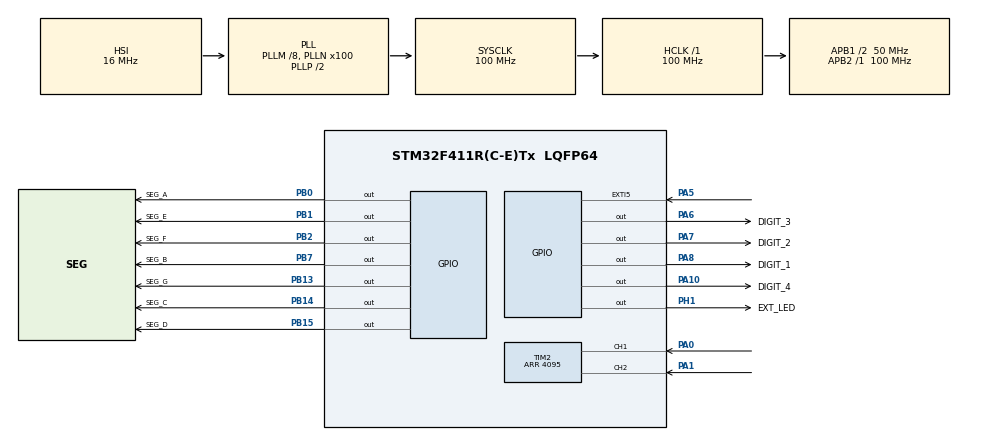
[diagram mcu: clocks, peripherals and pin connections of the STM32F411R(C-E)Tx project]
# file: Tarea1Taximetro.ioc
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Mcu.Family=STM32F4
Mcu.Name=STM32F411R(C-E)Tx
Mcu.Package=LQFP64
NVIC.EXTI9_5_IRQn=true\:0\:0\:false\:false\:true\:true\:true\:true
NVIC.PriorityGroup=NVIC_PRIORITYGROUP_0
NVIC.TIM3_IRQn=true\:0\:0\:false\:false\:true\:true\:true\:true
PA0-WKUP.Signal=S_TIM2_CH1_ETR
PA1.Signal=S_TIM2_CH2
PA10.GPIO_Label=DIGIT_4
PA10.Signal=GPIO_Output
PA5.Signal=GPXTI5
PA6.GPIO_Label=DIGIT_3
PA6.Signal=GPIO_Output
PA7.GPIO_Label=DIGIT_2
PA7.Signal=GPIO_Output
PA8.GPIO_Label=DIGIT_1
PA8.Signal=GPIO_Output
PB0.GPIO_Label=SEG_A
PB0.Signal=GPIO_Output
PB1.GPIO_Label=SEG_E
PB1.Signal=GPIO_Output
PB13.GPIO_Label=SEG_G
PB13.Signal=GPIO_Output
PB14.GPIO_Label=SEG_C
PB14.Signal=GPIO_Output
PB15.GPIO_Label=SEG_D
PB15.Signal=GPIO_Output
PB2.GPIO_Label=SEG_F
PB2.Signal=GPIO_Output
PB7.GPIO_Label=SEG_B
PB7.Signal=GPIO_Output
PH1\ -\ OSC_OUT.GPIO_Label=EXT_LED
PH1\ -\ OSC_OUT.Signal=GPIO_Output
ProjectManager.HeapSize=0x200
ProjectManager.StackSize=0x400
ProjectManager.TargetToolchain=STM32CubeIDE
RCC.48MHZClocksFreq_Value=50000000
RCC.AHBFreq_Value=100000000
RCC.APB1CLKDivider=RCC_HCLK_DIV2
RCC.APB1Freq_Value=50000000
RCC.APB1TimFreq_Value=100000000
RCC.APB2Freq_Value=100000000
RCC.APB2TimFreq_Value=100000000
RCC.CortexFreq_Value=100000000
RCC.FLatency-AdvancedSettings=FLASH_LATENCY_3
RCC.HCLKFreq_Value=100000000
RCC.HSE_VALUE=8000000
RCC.HSI_VALUE=16000000
RCC.LSE_VALUE=32768
RCC.PLLM=8
RCC.PLLN=100
RCC.SYSCLKFreq_VALUE=100000000
RCC.SYSCLKSource=RCC_SYSCLKSOURCE_PLLCLK
RCC.VCOOutputFreq_Value=200000000
SH.S_TIM2_CH1_ETR.0=TIM2_CH1,Encoder_Interface
SH.S_TIM2_CH2.0=TIM2_CH2,Encoder_Interface
TIM2.EncoderMode=TIM_ENCODERMODE_TI12
TIM2.Period=4095
TIM3.Period=9
TIM3.Prescaler=9999
VP_TIM3_VS_ClockSourceINT.Mode=Internal
board=NUCLEO-F411RE

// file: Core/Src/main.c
/* USER CODE BEGIN Header */
/**
 ******************************************************************************
 * @file           : main.c
 * @brief          : Código principal del programa.
 * @author         : Daverson Vera Patiño
 * @date           : 22-10-2025
 ******************************************************************************
 * @attention
 *
 * Taller V (2.0) - Tarea #1
 * PROFESOR: Nerio Andres Montoya Giraldo, PhD.
 *
 * ## Descripción de las herramientas del hardware utilizadas

*
* El sistema se implementa sobre una placa de desarrollo ST Nucleo-F411RE y
* utiliza los siguientes componentes externos:
*
* 1. **Encoder Rotatorio (Incremental):**
* - **Función:** Permite al usuario interactuar con el sistema, incrementando
* o decrementando un valor numérico. Detecta tanto el giro (pasos) como
* la dirección (sentido horario CW y antihorario CCW).
* - **Conexión:** Las salidas A (DT) y B (CLK) del encoder se conectan a los
* pines PA0 y PA1 del microcontrolador, configurados para la interfaz
* de encoder del Timer 2 (TIM2).
*
* 2. **Display de 7 Segmentos de 4 Dígitos (anodo Común):**
* - **Función:** Visualiza un número de hasta 4 cifras (0-4095) que
* corresponde al valor controlado por el encoder.
* - **Conexión:** Los 7 pines de los segmentos (A-G) se conectan al puerto
* GPIOB. Los 4 pines de control de los dígitos (transistores) se
* conectan al puerto GPIOA. Se utiliza una configuración de ánodo común
* donde para encender un dígito se aplica un nivel BAJO a su pin de control.
*
* 3. **Pulsador (Botón externo -No se uso el sw):**
* - **Función:** Permite al usuario cambiar la frecuencia de refresco (FPS)
* del display de 7 segmentos, ciclando entre varios niveles predefinidos.
* - **Conexión:** El pulsador está conectado al pin PA5, configurado como
* una entrada con interrupción externa (EXTI).
*
* 4. **Inversor con Disparador Schmitt (SN74HC14N):**
* - **Función:** Es un componente clave para el acondicionamiento de las
* señales. Se utiliza para el sistema de anti-rebote (debounce) por
* hardware tanto para las señales del encoder como para el pulsador.
* Convierte las señales ruidosas, provenientes de los contactos mecánicos,
* en señales digitales limpias y definidas (ondas cuadradas), asegurando
* que el microcontrolador reciba entradas estables y precisas.
*
* 5. **LED de Estado (Blinky)-Se uso el de la plca táctica:**
* - **Función:** Indica que el microcontrolador está energizado y ejecutando
* el programa correctamente. Su parpadeo a una frecuencia constante sirve
* como una señal visual de "heartbeat" del sistema.
*
* ## Explicación de cómo funciona el sistema
*
* El firmware está desarrollado utilizando el lenguaje C y las bibliotecas HAL
* de STM32.
*
* 1. **Control del Encoder con Timer 2 (TIM2):**
* - El TIM2 está configurado en Modo Encoder. Esto permite que el timer incremente
* o decremente su registro contador (`CNT`) automáticamente en respuesta a los pulsos de cuadratura
* del encoder.
* - La dirección del giro es detectada por el hardware del timer basándose
* en cuál de las señales (A o B) lidera a la otra.
* - El `Period` del timer (ARR) se establece en **4095**, lo que define el
* rango del contador como un valor de 12 bits sin signo. El hardware
* gestiona automáticamente el desbordamiento (overflow/underflow),
* pasando de 4095 a 0 al incrementar, y de 0 a 4095 al decrementar.
* - El bucle principal (`while(1)`) simplemente lee el valor actual del
* contador del TIM2 (`__HAL_TIM_GET_COUNTER`) y lo almacena en la variable
* `counter_value`, liberando a la CPU de la tarea de decodificar las
* señales del encoder.
*
* 2. **Refresco del Display con Timer 3 (TIM3) y Multiplexación (POV):**
* - Para evitar el efecto fantasma y controlar los 4 dígitos
* con un número limitado de pines, se utiliza la técnica de **multiplexación**.
* - El TIM3 se configura como un timer básico que genera una interrupción
* periódica a una frecuencia elevada.
* el código realiza lo siguiente en cada llamada:
* a. Apaga todos los dígitos y segmentos (`clear_display`.
* b. Selecciona un dígito para activar (de 0 a 3, secuencialmente).
* c. Extrae el número correspondiente de la variable `counter_value`
* (unidades, decenas, centenas, millares).
* d. Activa los segmentos necesarios para formar ese número (`set_segments`).
* e. Activa el transistor del dígito seleccionado (`set_active_digit`),
* iluminándolo.
* - Este proceso se repite tan rápido que el ojo humano percibe los cuatro
* dígitos como si estuvieran encendidos simultáneamente.
*
* 3. **Control de FPS con Interrupción Externa (EXTI):**
* - El pin PA5 (conectado al pulsador) está configurado para generar una
* interrupción (`EXTI`) cuando detecta un flanco de subida.
* - La interrupción es manejada por `HAL_GPIO_EXTI_Callback`. Dentro de esta
* función, se implementa un **mecanismo anti-rebote por software**
* basado en el tiempo (`HAL_GetTick()`) para ignorar los rebotes mecánicos
* que no fueron completamente filtrados por el hardware.
* - Al detectar una pulsación válida, el código actualiza un índice para
* seleccionar un nuevo valor de FPS de un arreglo predefinido y llama a
* `update_timer_for_fps()`.
* - La función `update_timer_for_fps()` recalcula y actualiza el valor del
* registro de auto-recarga (ARR) del TIM3. Al cambiar este valor, se
* modifica la frecuencia de la interrupción, y por ende, la velocidad de
* refresco del display.
 *
 ******************************************************************************
 */
/* USER CODE END Header */
#include "main.h"

/* USER CODE BEGIN PD */
/* Private defines -----------------------------------------------------------*/
#define EXT_LED_Pin GPIO_PIN_1
#define EXT_LED_GPIO_Port GPIOH
#define DIGIT_3_Pin GPIO_PIN_6
#define DIGIT_3_GPIO_Port GPIOA
#define DIGIT_2_Pin GPIO_PIN_7
#define DIGIT_2_GPIO_Port GPIOA
#define SEG_A_Pin GPIO_PIN_0
#define SEG_A_GPIO_Port GPIOB
#define SEG_E_Pin GPIO_PIN_1
#define SEG_E_GPIO_Port GPIOB
#define SEG_F_Pin GPIO_PIN_2
#define SEG_F_GPIO_Port GPIOB
#define SEG_G_Pin GPIO_PIN_13
#define SEG_G_GPIO_Port GPIOB
#define SEG_C_Pin GPIO_PIN_14
#define SEG_C_GPIO_Port GPIOB
#define SEG_D_Pin GPIO_PIN_15
#define SEG_D_GPIO_Port GPIOB
#define DIGIT_1_Pin GPIO_PIN_8
#define DIGIT_1_GPIO_Port GPIOA
#define DIGIT_4_Pin GPIO_PIN_10
#define DIGIT_4_GPIO_Port GPIOA
#define SEG_B_Pin GPIO_PIN_7
#define SEG_B_GPIO_Port GPIOB

/* USER CODE END PD */

TIM_HandleTypeDef htim2;
TIM_HandleTypeDef htim3;

/* USER CODE BEGIN PV */

// Patrones de bits para los números del 0 al 9 en un display de 7 segmentos (ÁNODO COMÚN).
// Ánodo común: '0' enciende el segmento, '1' lo apaga.
// El orden de los bits es G-F-E-D-C-B-A.
const uint8_t seven_seg_patterns[10] = {
    0b00111111, // 0 (Segmento G apagado, resto encendido) -> Corrección: 0b11000000 -> 0xC0
    0b00000110, // 1 (Segmentos B, C encendidos) -> Corrección: 0b11111001 -> 0xF9
    0b01011011, // 2 -> Corrección: 0b10100100 -> 0xA4
    0b01001111, // 3 -> Corrección: 0b10110000 -> 0xB0
    0b01100110, // 4 -> Corrección: 0b10011001 -> 0x99
    0b01101101, // 5 -> Corrección: 0b10010010 -> 0x92
    0b01111101, // 6 -> Corrección: 0b10000010 -> 0x82
    0b00000111, // 7 -> Corrección: 0b11111000 -> 0xF8
    0b01111111, // 8 -> Corrección: 0b10000000 -> 0x80
    0b01101111  // 9 -> Corrección: 0b10010000 -> 0x90
};

// Variable volátil para almacenar el valor actual del encoder.
volatile uint16_t counter_value = 0; // Inicializado en 0.

// Variable para controlar qué dígito del display se está actualizando (0 a 3).
volatile uint8_t active_digit = 0;

// Niveles de FPS (Frames Per Second) para el refresco del display.
const uint8_t fps_levels[] = {5, 10, 20, 30, 60};
uint8_t fps_index = 4; // Inicia en el nivel más alto (60 FPS).
const uint8_t num_fps_levels = sizeof(fps_levels) / sizeof(fps_levels[0]);

// Variables para el debouncing (antirrebote) del botón.
uint32_t last_button_press_time = 0;
const uint32_t debounce_delay = 200; // 200 milisegundos.

// Variable para el parpadeo del LED de estado.
uint32_t last_led_toggle_time = 0;
/* USER CODE END PV */

void SystemClock_Config(void);
static void MX_GPIO_Init(void);
static void MX_TIM2_Init(void);
static void MX_TIM3_Init(void);
/* USER CODE BEGIN PFP */
void clear_display(void);
void set_segments(uint8_t number);
void set_active_digit(uint8_t digit_num);
void update_timer_for_fps(void);
/* USER CODE END PFP */

int main(void)
{

  /* MCU Configuration--------------------------------------------------------*/

  /* Reset of all peripherals, Initializes the Flash interface and the Systick. */
  HAL_Init();

  /* Configure the system clock */
  SystemClock_Config();

  /* Initialize all configured peripherals */
  MX_GPIO_Init();
  MX_TIM2_Init();
  MX_TIM3_Init();
  /* USER CODE BEGIN 2 */

  //LED de estado
  HAL_GPIO_WritePin(EXT_LED_GPIO_Port, EXT_LED_Pin, GPIO_PIN_RESET);
  last_led_toggle_time = HAL_GetTick(); // Inicializa el temporizador del LED

  // Inicia el Timer 2 en modo Encoder.
  HAL_TIM_Encoder_Start(&htim2, TIM_CHANNEL_ALL);

  // Establece el valor inicial del contador del encoder en 0.
  __HAL_TIM_SET_COUNTER(&htim2, 0);

  // Inicia el Timer 3 para generar interrupciones para el refresco del display.
  HAL_TIM_Base_Start_IT(&htim3);

  // Configura la frecuencia de refresco inicial del display.
  update_timer_for_fps();
  /* USER CODE END 2 */

  /* Infinite loop */
  while (1)
  {

    /* USER CODE BEGIN 3 */

    // 1. Lectura del Encoder
    // Lee el valor del contador del encoder en cada ciclo.
    counter_value = __HAL_TIM_GET_COUNTER(&htim2);

    // 2. Parpadeo del LED
    // Comprueba si han pasado 500ms desde el último parpadeo.
    if (HAL_GetTick() - last_led_toggle_time > 500)
    {
      HAL_GPIO_TogglePin(EXT_LED_GPIO_Port, EXT_LED_Pin);
      last_led_toggle_time = HAL_GetTick(); // Actualiza el tiempo del último parpadeo
    }
  }
  /* USER CODE END 3 */
}

void SystemClock_Config(void)
{
  RCC_OscInitTypeDef RCC_OscInitStruct = {0};
  RCC_ClkInitTypeDef RCC_ClkInitStruct = {0};

  /** Configure the main internal regulator output voltage
  */
  __HAL_RCC_PWR_CLK_ENABLE();
  __HAL_PWR_VOLTAGESCALING_CONFIG(PWR_REGULATOR_VOLTAGE_SCALE1);

  /** Initializes the RCC Oscillators according to the specified parameters
  * in the RCC_OscInitTypeDef structure.
  */
  RCC_OscInitStruct.OscillatorType = RCC_OSCILLATORTYPE_HSI;
  RCC_OscInitStruct.HSIState = RCC_HSI_ON;
  RCC_OscInitStruct.HSICalibrationValue = RCC_HSICALIBRATION_DEFAULT;
  RCC_OscInitStruct.PLL.PLLState = RCC_PLL_ON;
  RCC_OscInitStruct.PLL.PLLSource = RCC_PLLSOURCE_HSI;
  RCC_OscInitStruct.PLL.PLLM = 8;
  RCC_OscInitStruct.PLL.PLLN = 100;
  RCC_OscInitStruct.PLL.PLLP = RCC_PLLP_DIV2;
  RCC_OscInitStruct.PLL.PLLQ = 4;
  if (HAL_RCC_OscConfig(&RCC_OscInitStruct) != HAL_OK)
  {
    Error_Handler();
  }

  /** Initializes the CPU, AHB and APB buses clocks
  */
  RCC_ClkInitStruct.ClockType = RCC_CLOCKTYPE_HCLK|RCC_CLOCKTYPE_SYSCLK
                              |RCC_CLOCKTYPE_PCLK1|RCC_CLOCKTYPE_PCLK2;
  RCC_ClkInitStruct.SYSCLKSource = RCC_SYSCLKSOURCE_PLLCLK;
  RCC_ClkInitStruct.AHBCLKDivider = RCC_SYSCLK_DIV1;
  RCC_ClkInitStruct.APB1CLKDivider = RCC_HCLK_DIV2;
  RCC_ClkInitStruct.APB2CLKDivider = RCC_HCLK_DIV1;

  if (HAL_RCC_ClockConfig(&RCC_ClkInitStruct, FLASH_LATENCY_3) != HAL_OK)
  {
    Error_Handler();
  }
}

static void MX_TIM2_Init(void)
{

  TIM_Encoder_InitTypeDef sConfig = {0};
  TIM_MasterConfigTypeDef sMasterConfig = {0};

  htim2.Instance = TIM2;
  htim2.Init.Prescaler = 0;
  htim2.Init.CounterMode = TIM_COUNTERMODE_UP;
  htim2.Init.Period = 4095;
  htim2.Init.ClockDivision = TIM_CLOCKDIVISION_DIV1;
  htim2.Init.AutoReloadPreload = TIM_AUTORELOAD_PRELOAD_DISABLE;

  // Cambiado de TIM_ENCODERMODE_TI12 a TIM_ENCODERMODE_TI1.
  // Esto cuenta en los flancos de TI1 (Canal A) y usa TI2 (Canal B)
  // para determinar la dirección.
  sConfig.EncoderMode = TIM_ENCODERMODE_TI1;

  sConfig.IC1Polarity = TIM_ICPOLARITY_RISING; // Cuenta en flancos de subida
  sConfig.IC1Selection = TIM_ICSELECTION_DIRECTTI;
  sConfig.IC1Prescaler = TIM_ICPSC_DIV1;
  sConfig.IC1Filter = 0; // Filtro a 0 (confiamos en el Schmitt-trigger externo)
  sConfig.IC2Polarity = TIM_ICPOLARITY_RISING;
  sConfig.IC2Selection = TIM_ICSELECTION_DIRECTTI;
  sConfig.IC2Prescaler = TIM_ICPSC_DIV1;
  sConfig.IC2Filter = 0;
  if (HAL_TIM_Encoder_Init(&htim2, &sConfig) != HAL_OK)
  {
    Error_Handler();
  }
  sMasterConfig.MasterOutputTrigger = TIM_TRGO_RESET;
  sMasterConfig.MasterSlaveMode = TIM_MASTERSLAVEMODE_DISABLE;
  if (HAL_TIMEx_MasterConfigSynchronization(&htim2, &sMasterConfig) != HAL_OK)
  {
    Error_Handler();
  }

}

static void MX_TIM3_Init(void)
{

  TIM_ClockConfigTypeDef sClockSourceConfig = {0};
  TIM_MasterConfigTypeDef sMasterConfig = {0};

  htim3.Instance = TIM3;
  htim3.Init.Prescaler = 9999;
  htim3.Init.CounterMode = TIM_COUNTERMODE_UP;
  htim3.Init.Period = 9;
  htim3.Init.ClockDivision = TIM_CLOCKDIVISION_DIV1;
  htim3.Init.AutoReloadPreload = TIM_AUTORELOAD_PRELOAD_DISABLE;
  if (HAL_TIM_Base_Init(&htim3) != HAL_OK)
  {
    Error_Handler();
  }
  sClockSourceConfig.ClockSource = TIM_CLOCKSOURCE_INTERNAL;
  if (HAL_TIM_ConfigClockSource(&htim3, &sClockSourceConfig) != HAL_OK)
  {
    Error_Handler();
  }
  sMasterConfig.MasterOutputTrigger = TIM_TRGO_RESET;
  sMasterConfig.MasterSlaveMode = TIM_MASTERSLAVEMODE_DISABLE;
  if (HAL_TIMEx_MasterConfigSynchronization(&htim3, &sMasterConfig) != HAL_OK)
  {
    Error_Handler();
  }

}

static void MX_GPIO_Init(void)
{
  GPIO_InitTypeDef GPIO_InitStruct = {0};

  /* GPIO Ports Clock Enable */
  __HAL_RCC_GPIOH_CLK_ENABLE();
  __HAL_RCC_GPIOA_CLK_ENABLE();
  __HAL_RCC_GPIOB_CLK_ENABLE();

  /*Configure GPIO pin Output Level */
  HAL_GPIO_WritePin(EXT_LED_GPIO_Port, EXT_LED_Pin, GPIO_PIN_RESET);

  /*Configure GPIO pin Output Level */
  HAL_GPIO_WritePin(GPIOA, DIGIT_3_Pin|DIGIT_2_Pin|DIGIT_1_Pin|DIGIT_4_Pin, GPIO_PIN_RESET);

  /*Configure GPIO pin Output Level */
  HAL_GPIO_WritePin(GPIOB, SEG_A_Pin|SEG_E_Pin|SEG_F_Pin|SEG_G_Pin
                          |SEG_C_Pin|SEG_D_Pin|SEG_B_Pin, GPIO_PIN_RESET);

  /*Configure GPIO pin : EXT_LED_Pin */
  GPIO_InitStruct.Pin = EXT_LED_Pin;
  GPIO_InitStruct.Mode = GPIO_MODE_OUTPUT_PP;
  GPIO_InitStruct.Pull = GPIO_NOPULL;
  GPIO_InitStruct.Speed = GPIO_SPEED_FREQ_LOW;
  HAL_GPIO_Init(EXT_LED_GPIO_Port, &GPIO_InitStruct);

  /*Configure GPIO pin : PA5 */
  GPIO_InitStruct.Pin = GPIO_PIN_5;
  GPIO_InitStruct.Mode = GPIO_MODE_IT_RISING;
  GPIO_InitStruct.Pull = GPIO_NOPULL;
  HAL_GPIO_Init(GPIOA, &GPIO_InitStruct);

  /*Configure GPIO pins : DIGIT_3_Pin DIGIT_2_Pin DIGIT_1_Pin DIGIT_4_Pin */
  GPIO_InitStruct.Pin = DIGIT_3_Pin|DIGIT_2_Pin|DIGIT_1_Pin|DIGIT_4_Pin;
  GPIO_InitStruct.Mode = GPIO_MODE_OUTPUT_PP;
  GPIO_InitStruct.Pull = GPIO_NOPULL;
  GPIO_InitStruct.Speed = GPIO_SPEED_FREQ_LOW;
  HAL_GPIO_Init(GPIOA, &GPIO_InitStruct);

  /*Configure GPIO pins : SEG_A_Pin SEG_E_Pin SEG_F_Pin SEG_G_Pin
                           SEG_C_Pin SEG_D_Pin SEG_B_Pin */
  GPIO_InitStruct.Pin = SEG_A_Pin|SEG_E_Pin|SEG_F_Pin|SEG_G_Pin
                          |SEG_C_Pin|SEG_D_Pin|SEG_B_Pin;
  GPIO_InitStruct.Mode = GPIO_MODE_OUTPUT_PP;
  GPIO_InitStruct.Pull = GPIO_NOPULL;
  GPIO_InitStruct.Speed = GPIO_SPEED_FREQ_LOW;
  HAL_GPIO_Init(GPIOB, &GPIO_InitStruct);

  /* EXTI interrupt init*/
  HAL_NVIC_SetPriority(EXTI9_5_IRQn, 0, 0);
  HAL_NVIC_EnableIRQ(EXTI9_5_IRQn);

}

/* USER CODE BEGIN 4 */

/**
  * @brief  Callback de interrupción externa (se ejecuta al presionar un botón).
  */
void HAL_GPIO_EXTI_Callback(uint16_t GPIO_Pin)
{
    // Se asegura de que la interrupción fue causada por el pin correcto (PA5).
    if (GPIO_Pin == GPIO_PIN_5) {
        // Lógica de antirrebote (debounce).
        if (HAL_GetTick() - last_button_press_time > debounce_delay) {
            fps_index = (fps_index + 1) % num_fps_levels; // Cicla entre los niveles de FPS.
            update_timer_for_fps(); // Actualiza la configuración del timer.
            last_button_press_time = HAL_GetTick(); // Registra el tiempo de la pulsación.
        }
    }
}

/**
  * @brief  Callback de interrupción del timer (se ejecuta cuando el contador del TIM3 llega al valor de Period).
  */
void HAL_TIM_PeriodElapsedCallback(TIM_HandleTypeDef *htim)
{
    // Asegurarse de que la interrupción es del TIM3.
    if (htim->Instance == TIM3) {
        clear_display(); // Apaga todos los segmentos y dígitos para evitar "ghosting".

        uint16_t temp_counter = counter_value;
        uint8_t digit_to_show;

        // Lógica de multiplexación: calcula qué número mostrar en el dígito activo.
        if (active_digit == 0)      digit_to_show = (temp_counter / 1000) % 10;
        else if (active_digit == 1) digit_to_show = (temp_counter / 100) % 10;
        else if (active_digit == 2) digit_to_show = (temp_counter / 10) % 10;
        else                        digit_to_show = temp_counter % 10;

        set_segments(digit_to_show);    // Enciende los segmentos correspondientes al número.
        set_active_digit(active_digit); // Activa el transistor del dígito actual.

        active_digit = (active_digit + 1) % 4; // Pasa al siguiente dígito para la próxima interrupción.
    }
}

/**
  * @brief  Actualiza el valor de recarga automática (ARR) del TIM3 para cambiar los FPS.
  */
void update_timer_for_fps(void) {
    // La frecuencia de refresco de CADA dígito es FPS * 4 (porque son 4 dígitos).
    uint32_t refresh_freq = fps_levels[fps_index] * 4;
    if (refresh_freq == 0) return; // Evita división por cero.

    // El reloj del TIM3 después del prescaler es 100MHz / (9999+1) = 10,000 Hz.
    // Nuevo Periodo (ARR) = (Frecuencia_Timer / Frecuencia_Deseada) - 1.
    uint32_t new_arr_value = (10000 / refresh_freq) - 1;

    __HAL_TIM_SET_AUTORELOAD(&htim3, new_arr_value);
    htim3.Instance->EGR = TIM_EGR_UG; // Genera un evento de actualización para aplicar los cambios inmediatamente.
}

/**
  * @brief Apaga todos los segmentos y transistores de los dígitos.
  */
void clear_display(void) {
    // Pone en ALTO los pines de los segmentos (ánodo común, se apagan con '1').
    HAL_GPIO_WritePin(GPIOB, SEG_A_Pin|SEG_E_Pin|SEG_F_Pin|SEG_B_Pin|SEG_G_Pin|SEG_C_Pin|SEG_D_Pin, GPIO_PIN_SET);
    // Pone en ALTO los pines de los dígitos (transistores PNP, se apagan con '1').
    HAL_GPIO_WritePin(GPIOA, DIGIT_1_Pin|DIGIT_2_Pin|DIGIT_3_Pin|DIGIT_4_Pin, GPIO_PIN_SET);
}

/**
  * @brief Muestra un número (0-9) en los segmentos.
  */
void set_segments(uint8_t number) {
    if (number > 9) return;
    uint8_t pattern = seven_seg_patterns[number];

    HAL_GPIO_WritePin(SEG_A_GPIO_Port, SEG_A_Pin, (pattern & 0x01) ? GPIO_PIN_RESET : GPIO_PIN_SET);
    HAL_GPIO_WritePin(SEG_B_GPIO_Port, SEG_B_Pin, (pattern & 0x02) ? GPIO_PIN_RESET : GPIO_PIN_SET);
    HAL_GPIO_WritePin(SEG_C_GPIO_Port, SEG_C_Pin, (pattern & 0x04) ? GPIO_PIN_RESET : GPIO_PIN_SET);
    HAL_GPIO_WritePin(SEG_D_GPIO_Port, SEG_D_Pin, (pattern & 0x08) ? GPIO_PIN_RESET : GPIO_PIN_SET);
    HAL_GPIO_WritePin(SEG_E_GPIO_Port, SEG_E_Pin, (pattern & 0x10) ? GPIO_PIN_RESET : GPIO_PIN_SET);
    HAL_GPIO_WritePin(SEG_F_GPIO_Port, SEG_F_Pin, (pattern & 0x20) ? GPIO_PIN_RESET : GPIO_PIN_SET);
    HAL_GPIO_WritePin(SEG_G_GPIO_Port, SEG_G_Pin, (pattern & 0x40) ? GPIO_PIN_RESET : GPIO_PIN_SET);
}

/**
  * @brief Activa un dígito específico (0 a 3).
  */
void set_active_digit(uint8_t digit_num) {
    // Pone en BAJO el pin del transistor PNP correspondiente para permitir que la corriente fluya.
    switch (digit_num) {
        case 0: HAL_GPIO_WritePin(DIGIT_1_GPIO_Port, DIGIT_1_Pin, GPIO_PIN_RESET); break;
        case 1: HAL_GPIO_WritePin(DIGIT_2_GPIO_Port, DIGIT_2_Pin, GPIO_PIN_RESET); break;
        case 2: HAL_GPIO_WritePin(DIGIT_3_GPIO_Port, DIGIT_3_Pin, GPIO_PIN_RESET); break;
        case 3: HAL_GPIO_WritePin(DIGIT_4_GPIO_Port, DIGIT_4_Pin, GPIO_PIN_RESET); break;
    }
}
/* USER CODE END 4 */

void Error_Handler(void)
{
  __disable_irq();
  while (1)
  {
  }
}
